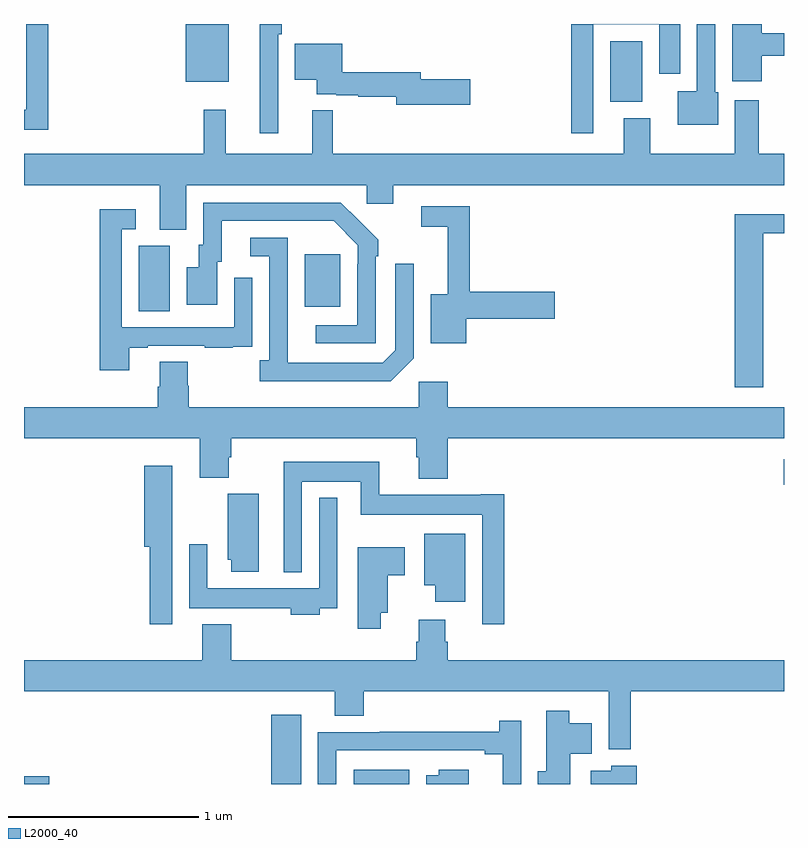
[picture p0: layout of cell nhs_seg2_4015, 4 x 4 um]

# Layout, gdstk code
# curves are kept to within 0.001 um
import gdstk
lib = gdstk.Library(unit=1e-6, precision=1e-09)
def R(c, l, rs):  # rectangles x0, y0, x1, y1
    for r in rs: c.add(gdstk.rectangle(r[:2], r[2:], *l))
def P(c, l, *ps):  # polygons
    for p in ps: c.add(gdstk.Polygon(p, *l))
L2000_40 = (2000, 40)

nhs_seg2_4015 = lib.new_cell('nhs_seg2_4015')
R(nhs_seg2_4015, L2000_40, [(325,661.8,325.133,661.84), (326.3,661.8,326.458,662.164), (326.735,661.8,327.028,661.876), (328.998,663.374,329,663.508), (325.604,664.288,325.768,664.632), (326.477,664.313,326.665,664.588), (328.085,665.39,328.255,665.71), (325.85,665.495,326.077,665.8)])
P(nhs_seg2_4015, L2000_40, [(327.996,665.799),(328.343,665.799),(328.343,665.538),(328.453,665.538),(328.453,665.8),(327.88,665.8),(327.88,665.226),(327.996,665.226)],
  [(328.654,665.442),(328.638,665.442),(328.638,665.8),(328.542,665.8),(328.542,665.446),(328.442,665.446),(328.442,665.27),(328.654,665.27)],
  [(328.884,665.632),(329,665.632),(329,665.751),(328.884,665.751),(328.884,665.8),(328.727,665.8),(328.727,665.499),(328.884,665.499)],
  [(325.127,665.8),(325.011,665.8),(325.011,665.349),(325,665.349),(325,665.244),(325.127,665.244)],
  [(326.337,665.747),(326.357,665.747),(326.357,665.8),(326.24,665.8),(326.24,665.226),(326.337,665.226)],
  [(327.349,665.51),(327.088,665.51),(327.088,665.546),(326.675,665.546),(326.675,665.695),(326.426,665.695),(326.426,665.507),(326.54,665.507),(326.54,665.43),(326.644,665.43),(326.644,665.424),(326.758,665.424),(326.758,665.418),(326.96,665.418),(326.96,665.375),(327.349,665.375)],
  [(325.855,664.952),(326.805,664.952),(326.805,664.854),(326.944,664.854),(326.944,664.952),(329,664.952),(329,665.116),(328.868,665.116),(328.868,665.398),(328.742,665.398),(328.742,665.116),(328.297,665.116),(328.297,665.305),(328.157,665.305),(328.157,665.116),(326.624,665.116),(326.624,665.345),(326.516,665.345),(326.516,665.116),(326.063,665.116),(326.063,665.35),(325.945,665.35),(325.945,665.116),(325,665.116),(325,664.952),(325.715,664.952),(325.715,664.717),(325.855,664.717)],
  [(326.85,664.577),(326.865,664.577),(326.865,664.665),(326.668,664.86),(325.944,664.86),(325.944,664.638),(325.919,664.638),(325.919,664.519),(325.856,664.519),(325.856,664.323),(326.017,664.323),(326.017,664.548),(326.041,664.548),(326.041,664.764),(326.629,664.764),(326.757,664.635),(326.757,664.535),(326.754,664.535),(326.754,664.215),(326.535,664.215),(326.535,664.119),(326.85,664.119)],
  [(327.328,664.249),(327.793,664.249),(327.793,664.391),(327.347,664.391),(327.347,664.842),(327.09,664.842),(327.09,664.734),(327.23,664.734),(327.23,664.378),(327.14,664.378),(327.14,664.121),(327.328,664.121)],
  [(325.555,664.095),(325.651,664.095),(325.651,664.107),(325.951,664.107),(325.951,664.095),(326.099,664.095),(326.099,664.101),(326.201,664.101),(326.201,664.21),(326.202,664.21),(326.202,664.465),(326.106,664.465),(326.106,664.203),(325.515,664.203),(325.515,664.719),(325.588,664.719),(325.588,664.825),(325.399,664.825),(325.399,663.978),(325.555,663.978)],
  [(328.891,664.7),(329,664.7),(329,664.798),(328.742,664.798),(328.742,663.888),(328.891,663.888)],
  [(327.051,664.041),(327.051,664.537),(326.955,664.537),(326.955,664.083),(326.889,664.017),(326.389,664.017),(326.388,664.674),(326.19,664.674),(326.19,664.578),(326.292,664.578),(326.292,664.03),(326.241,664.03),(326.241,663.92),(326.93,663.92)],
  [(327.23,663.62),(329,663.62),(329,663.784),(327.23,663.784),(327.23,663.916),(327.078,663.916),(327.078,663.784),(325.868,663.784),(325.868,663.897),(325.863,663.897),(325.863,664.022),(325.715,664.022),(325.715,663.89),(325.703,663.89),(325.703,663.784),(325,663.784),(325,663.62),(325.925,663.62),(325.925,663.412),(326.077,663.412),(326.077,663.521),(326.09,663.521),(326.09,663.62),(327.065,663.62),(327.065,663.519),(327.077,663.519),(327.077,663.407),(327.23,663.407)],
  [(327.527,663.325),(327.404,663.325),(327.404,663.322),(326.87,663.322),(326.87,663.496),(326.366,663.496),(326.366,662.915),(326.463,662.915),(326.463,663.392),(326.772,663.392),(326.772,663.218),(327.411,663.218),(327.411,662.64),(327.527,662.64)],
  [(325.779,663.154),(325.78,663.154),(325.78,663.475),(325.634,663.475),(325.634,663.05),(325.663,663.05),(325.663,662.64),(325.779,662.64)],
  [(326.236,663.327),(326.072,663.327),(326.072,662.979),(326.09,662.979),(326.09,662.916),(326.236,662.916)],
  [(326.557,662.724),(326.649,662.724),(326.649,663.307),(326.553,663.307),(326.553,662.83),(325.965,662.83),(325.965,663.061),(325.869,663.061),(325.869,662.726),(326.173,662.726),(326.173,662.724),(326.405,662.724),(326.405,662.69),(326.557,662.69)],
  [(327.322,663.118),(327.107,663.118),(327.107,662.846),(327.164,662.846),(327.164,662.76),(327.322,662.76)],
  [(326.878,662.702),(326.914,662.702),(326.914,662.899),(327.004,662.899),(327.004,663.046),(326.756,663.046),(326.756,662.616),(326.878,662.616)],
  [(328.193,662.288),(329,662.288),(329,662.452),(327.23,662.452),(327.23,662.55),(327.217,662.55),(327.217,662.665),(327.077,662.665),(327.077,662.55),(327.065,662.55),(327.065,662.452),(326.09,662.452),(326.09,662.641),(325.937,662.641),(325.937,662.452),(325,662.452),(325,662.288),(326.636,662.288),(326.636,662.158),(326.789,662.158),(326.789,662.288),(328.077,662.288),(328.077,661.982),(328.193,661.982)],
  [(327.874,661.958),(327.988,661.958),(327.988,662.119),(327.871,662.119),(327.871,662.185),(327.749,662.185),(327.749,661.866),(327.703,661.866),(327.703,661.8),(327.874,661.8)],
  [(326.643,661.977),(327.425,661.977),(327.425,661.957),(327.521,661.957),(327.521,661.8),(327.618,661.8),(327.618,662.134),(327.502,662.134),(327.502,662.075),(326.872,662.075),(326.872,662.073),(326.547,662.073),(326.547,661.8),(326.643,661.8)],
  [(328.226,661.897),(328.092,661.897),(328.092,661.87),(327.983,661.87),(327.983,661.8),(328.226,661.8)],
  [(327.34,661.876),(327.182,661.876),(327.182,661.846),(327.116,661.846),(327.116,661.8),(327.34,661.8)])

lib.write_gds('nhs_seg2_4015.gds')
